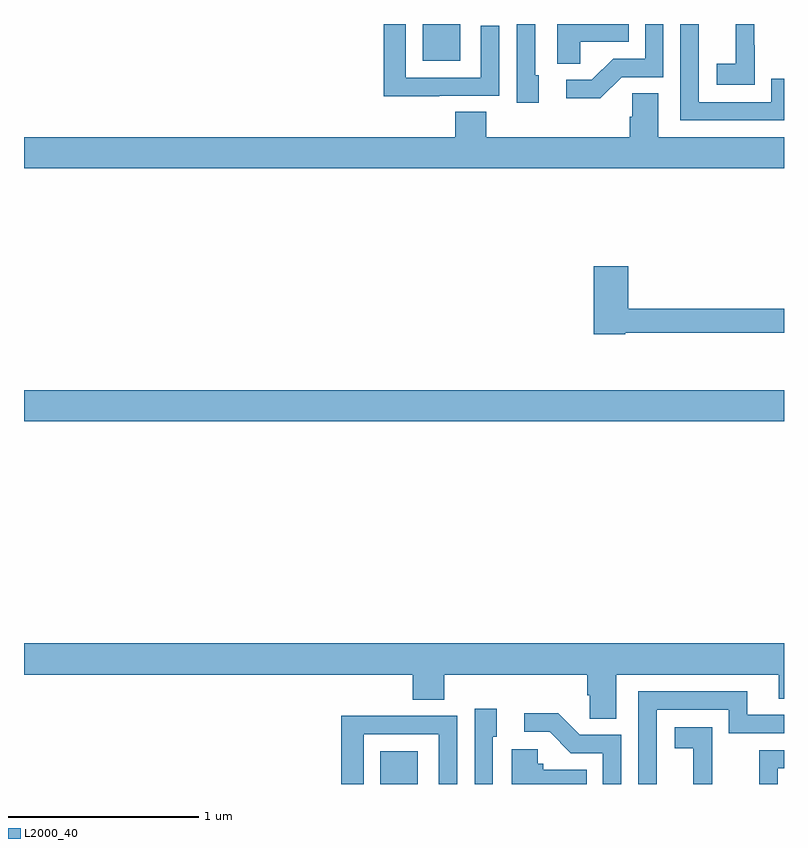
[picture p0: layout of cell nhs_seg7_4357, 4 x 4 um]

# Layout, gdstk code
import gdstk
lib = gdstk.Library(unit=1e-6, precision=1e-09)
def R(c, l, rs):  # rectangles x0, y0, x1, y1
    for r in rs: c.add(gdstk.rectangle(r[:2], r[2:], *l))
def P(c, l, *ps):  # polygons
    for p in ps: c.add(gdstk.Polygon(p, *l))
L2000_40 = (2000, 40)

nhs_seg7_4357 = lib.new_cell('nhs_seg7_4357')
R(nhs_seg7_4357, L2000_40, [(386.876,1040,387.073,1040.173), (385,1041.908,389,1042.072), (387.098,1043.807,387.295,1044)])
P(nhs_seg7_4357, L2000_40, [(388.845,1043.887),(388.844,1043.887),(388.844,1044),(388.745,1044),(388.745,1043.791),(388.647,1043.791),(388.647,1043.681),(388.845,1043.681)],
  [(387.927,1043.906),(388.184,1043.906),(388.184,1044),(387.806,1044),(387.806,1043.791),(387.927,1043.791)],
  [(389,1043.712),(388.932,1043.712),(388.932,1043.589),(388.551,1043.589),(388.551,1044),(388.455,1044),(388.455,1043.493),(389,1043.493)],
  [(387.709,1043.73),(387.69,1043.73),(387.69,1044),(387.594,1044),(387.594,1043.586),(387.709,1043.586)],
  [(387.185,1043.622),(387.501,1043.622),(387.501,1043.992),(387.405,1043.992),(387.405,1043.718),(387.009,1043.718),(387.009,1044),(386.893,1044),(386.893,1043.621),(387.185,1043.621)],
  [(388.146,1043.721),(388.365,1043.721),(388.365,1044),(388.269,1044),(388.269,1043.817),(388.1,1043.817),(387.989,1043.706),(387.855,1043.706),(387.855,1043.609),(388.033,1043.609)],
  [(389,1043.404),(388.339,1043.404),(388.339,1043.636),(388.2,1043.636),(388.2,1043.513),(388.187,1043.513),(388.187,1043.404),(387.434,1043.404),(387.434,1043.537),(387.269,1043.537),(387.269,1043.404),(385,1043.404),(385,1043.24),(389,1043.24)],
  [(388.164,1042.374),(389,1042.374),(389,1042.502),(388.181,1042.502),(388.181,1042.726),(387.998,1042.726),(387.998,1042.366),(388.164,1042.366)],
  [(388.117,1040.576),(388.973,1040.576),(388.973,1040.449),(389,1040.449),(389,1040.74),(385,1040.74),(385,1040.576),(387.047,1040.576),(387.047,1040.443),(387.212,1040.443),(387.212,1040.576),(387.965,1040.576),(387.965,1040.467),(387.978,1040.467),(387.978,1040.344),(388.117,1040.344)],
  [(388.329,1040.391),(388.71,1040.391),(388.71,1040.268),(389,1040.268),(389,1040.364),(388.807,1040.364),(388.807,1040.487),(388.233,1040.487),(388.233,1040),(388.329,1040)],
  [(387.468,1040.25),(387.487,1040.25),(387.487,1040.395),(387.372,1040.395),(387.372,1040),(387.468,1040)],
  [(388.143,1040.259),(387.924,1040.259),(387.811,1040.372),(387.633,1040.372),(387.633,1040.274),(387.767,1040.274),(387.878,1040.163),(388.047,1040.163),(388.047,1040),(388.143,1040)],
  [(386.787,1040.262),(387.183,1040.262),(387.183,1040),(387.279,1040),(387.279,1040.358),(386.963,1040.358),(386.963,1040.36),(386.671,1040.36),(386.671,1040),(386.787,1040)],
  [(388.622,1040.093),(388.623,1040.093),(388.623,1040.299),(388.425,1040.299),(388.425,1040.189),(388.523,1040.189),(388.523,1040),(388.622,1040)],
  [(387.962,1040.074),(387.732,1040.074),(387.732,1040.106),(387.705,1040.106),(387.705,1040.182),(387.566,1040.182),(387.566,1040),(387.962,1040)],
  [(388.968,1040.082),(389,1040.082),(389,1040.178),(388.87,1040.178),(388.87,1040),(388.968,1040)])

lib.write_gds('nhs_seg7_4357.gds')
